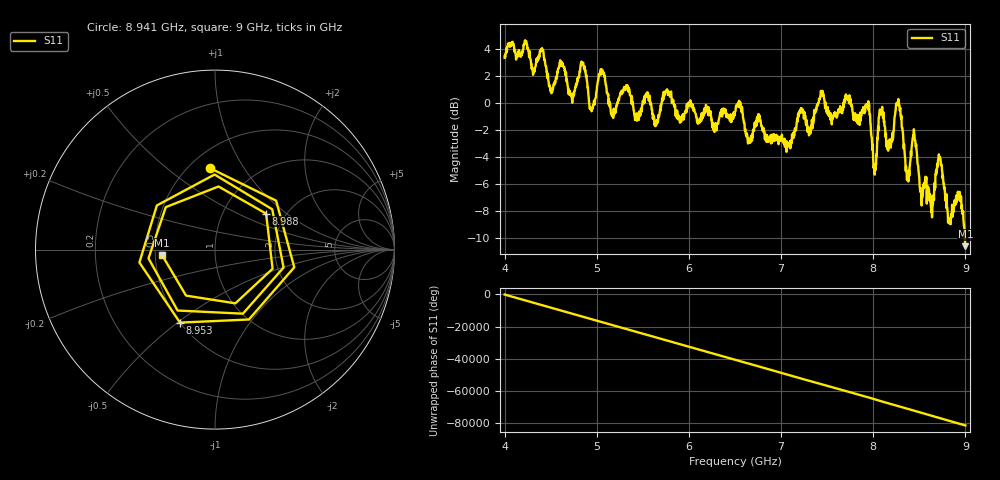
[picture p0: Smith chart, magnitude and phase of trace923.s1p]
! Created with skrf 1.8.0 (http://scikit-rf.org).
# Hz S RI R 50.0
!freq ReS11 ImS11
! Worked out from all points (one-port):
!   1601 points, 4 GHz to 9 GHz, reference 50 ohm
!   lowest |S11| = -10.6 dB at 9 GHz (marker M1), VSWR 1.84, Z = 27.2 - j1.89 ohm
!   |S11| at or under -10 dB: 8.994674 GHz to end of sweep
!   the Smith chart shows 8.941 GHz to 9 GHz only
!   S11 on the Smith chart (normalised r, x): 8.941 GHz: 0.63, +0.72; 8.953 GHz: 0.50, -0.51; 8.988 GHz: 1.59, +0.73; 9 GHz: 0.54, -0.04
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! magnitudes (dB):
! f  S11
! 4 GHz  3.3
! 4.506 GHz  0.7
! 4.625 GHz  2.8
! 4.731 GHz  0.3
! 4.853 GHz  3.0
! 4.941 GHz  -0.4
! 5.053 GHz  2.4
! 5.166 GHz  -1.0
! 5.25 GHz  0.5
! 5.875 GHz  -0.8
! 6.5 GHz  -0.7
! 7.125 GHz  -2.4
! 7.75 GHz  0.0
! 7.941 GHz  -0.1
! 8.016 GHz  -5.3
! 8.084 GHz  -0.9
! 8.166 GHz  -3.0
! 8.272 GHz  0.3
! 8.375 GHz  -5.7
! 8.444 GHz  -2.3
! 8.528 GHz  -6.7
! 8.634 GHz  -7.5
! 8.719 GHz  -4.0
! 8.825 GHz  -8.9
! 8.941 GHz  -6.8
! 8.953 GHz  -6.9
! 8.988 GHz  -9.2
! 9 GHz  -10.6
